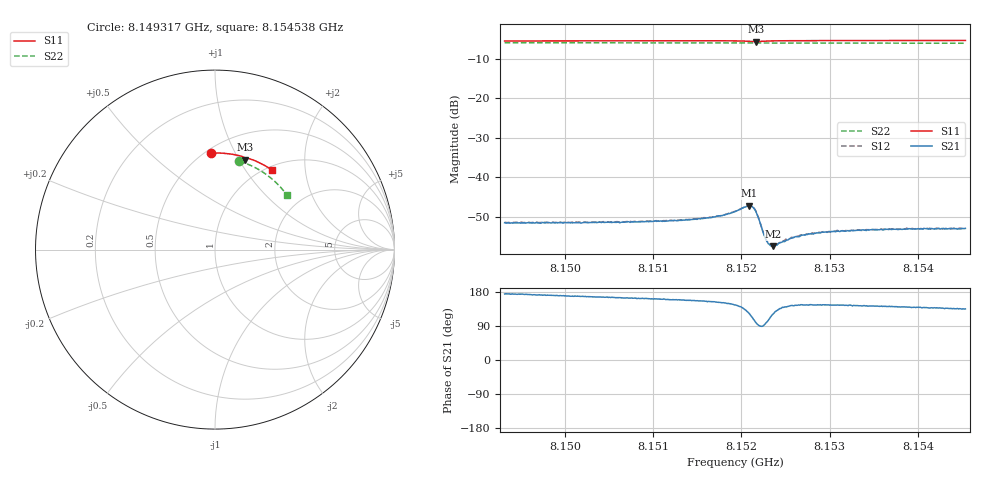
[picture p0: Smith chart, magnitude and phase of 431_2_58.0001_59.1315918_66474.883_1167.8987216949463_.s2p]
#  HZ  S  RI  R  50.00
! Rohde & Schwarz Vector Network Analyzer
! Rohde-Schwarz,ZNB20-2Port,1311601062101988,3.16
! Created: UTC 3/21/2024, 1:09:39 AM
! freq[Hz]  re:S11  im:S11  re:S21  im:S21  re:S12  im:S12  re:S22  im:S22
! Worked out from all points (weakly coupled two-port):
!   401 points, 8.149317 GHz to 8.154538 GHz, reference 50 ohm
!   highest |S21| = -47.27 dB at 8.152084 GHz (marker M1); lowest = -57.5 dB at 8.152358 GHz (marker M2)
!   lowest |S11| = -5.6 dB at 8.152162 GHz (marker M3), VSWR 3.23, Z = 38.2 + j53 ohm
!   |S11| at or under -10 dB: nowhere
!   |S22| runs from -6.0 to -5.8 dB; largest |S21 - S12| = 0.00012
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8.1493169e9  -0.0227 0.5369  -0.00263 0.000271  -0.00264 0.000285  0.1364 0.492
8.1501914e9  0.0385 0.5374  -0.00257 0.000551  -0.0026 0.000599  0.1894 0.4728
8.151066e9  0.0992 0.5309  -0.00261 0.000894  -0.00263 0.000957  0.2397 0.448
8.1513009e9  0.1156 0.5279  -0.00265 0.00103  -0.00264 0.00111  0.2527 0.4404
8.1516533e9  0.1403 0.5222  -0.00276 0.00135  -0.00277 0.00137  0.2716 0.4283
8.1517838e9  0.1499 0.5191  -0.00285 0.00157  -0.00287 0.00162  0.2784 0.4236
8.1519274e9  0.1607 0.5146  -0.003 0.00209  -0.00302 0.00212  0.2861 0.4181
8.1520318e9  0.1682 0.5085  -0.00291 0.00297  -0.0029 0.00302  0.2912 0.4143
8.152084e9  0.1699 0.5041  -0.00241 0.0036  -0.00238 0.00367  0.2939 0.4121
8.1521232e9  0.1688 0.5009  -0.0016 0.00391  -0.00155 0.00398  0.2955 0.4107
8.1521624e9  0.1666 0.5005  -0.000588 0.00366  -0.000565 0.0037  0.2976 0.4091
8.1521885e9  0.1656 0.502  -0.000151 0.00313  -9.97e-05 0.00317  0.2987 0.4083
8.1522537e9  0.1684 0.5065  -4.85e-05 0.00189  -3.92e-05 0.00191  0.3021 0.4059
8.1522798e9  0.1705 0.5076  -0.000221 0.00158  -0.000166 0.00159  0.3033 0.4051
8.152319e9  0.174 0.5084  -0.000471 0.00133  -0.000455 0.00132  0.3053 0.4035
8.1523581e9  0.1775 0.5085  -0.000694 0.00114  -0.000687 0.00117  0.3073 0.4021
8.1525931e9  0.196 0.5048  -0.00137 0.00104  -0.00137 0.00104  0.3188 0.3925
8.1528019e9  0.2106 0.4998  -0.00157 0.00109  -0.00161 0.00113  0.3288 0.3838
8.1530238e9  0.2253 0.494  -0.00167 0.00119  -0.00166 0.00118  0.3392 0.3743
8.1532196e9  0.2379 0.4885  -0.0017 0.0012  -0.00169 0.00125  0.348 0.3655
8.1536764e9  0.2665 0.4743  -0.00171 0.00135  -0.00169 0.00142  0.3677 0.3445
8.1545379e9  0.3174 0.4434  -0.00158 0.00159  -0.00155 0.00162  0.4014 0.3024
